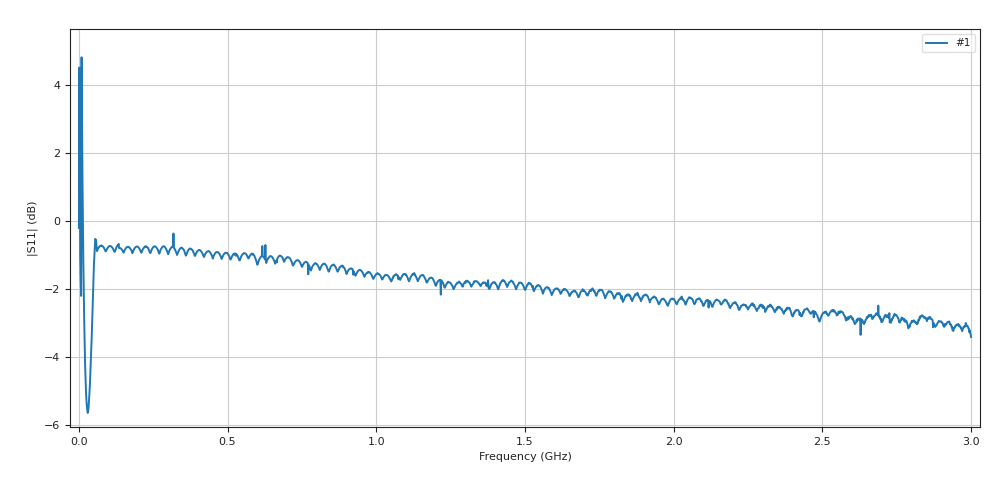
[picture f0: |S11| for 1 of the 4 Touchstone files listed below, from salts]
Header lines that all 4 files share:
# HZ S RI R 50
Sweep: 10 kHz to 3 GHz
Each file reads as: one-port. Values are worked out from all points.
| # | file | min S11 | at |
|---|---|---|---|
| 1 | KNO3.s1p | -5.7 dB | 29.73 MHz |
| 2 | Na2HPO4.s1p | -5.7 dB | 29.73 MHz |
| 3 | NACL.s1p | -5.7 dB | 29.73 MHz |
| 4 | NAHCO3.s1p | -5.7 dB | 29.73 MHz |
